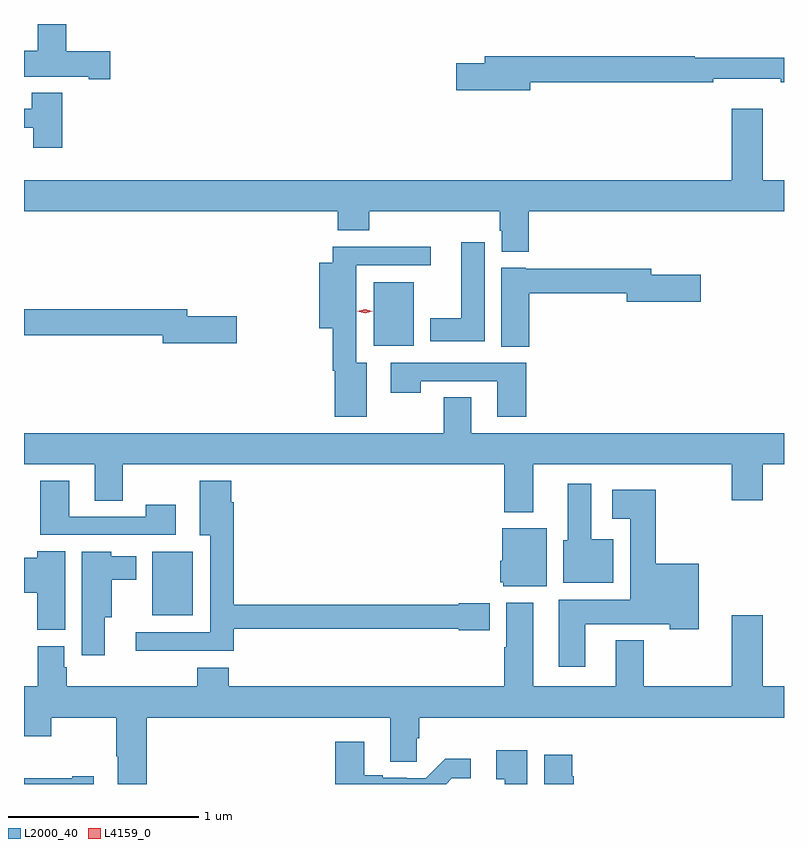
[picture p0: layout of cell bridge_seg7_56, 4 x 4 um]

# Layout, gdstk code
import gdstk
lib = gdstk.Library(unit=1e-6, precision=1e-09)
def R(c, l, rs):  # rectangles x0, y0, x1, y1
    for r in rs: c.add(gdstk.rectangle(r[:2], r[2:], *l))
def P(c, l, *ps):  # polygons
    for p in ps: c.add(gdstk.Polygon(p, *l))
L2000_40 = (2000, 40)
L4159_0 = (4159, 0)

bridge_seg7_56 = lib.new_cell('bridge_seg7_56')
R(bridge_seg7_56, L2000_40, [(953.168,1013.141,953.38,1013.476), (954.332,1014.56,954.544,1014.895)])
P(bridge_seg7_56, L2000_40, [(952.945,1016.111),(952.715,1016.111),(952.715,1016.254),(952.565,1016.254),(952.565,1016.114),(952.492,1016.114),(952.492,1015.976),(952.832,1015.976),(952.832,1015.964),(952.945,1015.964)],
  [(955.156,1015.948),(956.12,1015.948),(956.12,1015.967),(956.476,1015.967),(956.476,1015.948),(956.492,1015.948),(956.492,1016.077),(956.021,1016.077),(956.021,1016.084),(954.917,1016.084),(954.917,1016.048),(954.768,1016.048),(954.768,1015.906),(955.156,1015.906)],
  [(952.694,1015.891),(952.534,1015.891),(952.534,1015.807),(952.492,1015.807),(952.492,1015.707),(952.541,1015.707),(952.541,1015.602),(952.694,1015.602)],
  [(955.148,1015.268),(956.492,1015.268),(956.492,1015.432),(956.38,1015.432),(956.38,1015.807),(956.216,1015.807),(956.216,1015.432),(952.492,1015.432),(952.492,1015.268),(954.143,1015.268),(954.143,1015.169),(954.308,1015.169),(954.308,1015.268),(954.995,1015.268),(954.995,1015.167),(955.007,1015.167),(955.007,1015.055),(955.148,1015.055)],
  [(954.916,1015.105),(954.794,1015.105),(954.794,1014.706),(954.629,1014.706),(954.629,1014.584),(954.916,1014.584)],
  [(954.295,1014.472),(954.241,1014.472),(954.241,1014.984),(954.634,1014.984),(954.634,1015.082),(954.116,1015.082),(954.116,1014.997),(954.047,1014.997),(954.047,1014.653),(954.116,1014.653),(954.116,1014.428),(954.128,1014.428),(954.128,1014.186),(954.295,1014.186)],
  [(955.151,1014.838),(955.664,1014.838),(955.664,1014.791),(956.053,1014.791),(956.053,1014.933),(955.792,1014.933),(955.792,1014.967),(955.134,1014.967),(955.134,1014.97),(955.004,1014.97),(955.004,1014.556),(955.151,1014.556)],
  [(953.611,1014.716),(953.35,1014.716),(953.35,1014.752),(952.492,1014.752),(952.492,1014.616),(953.222,1014.616),(953.222,1014.574),(953.611,1014.574)],
  [(955.136,1014.471),(954.423,1014.471),(954.423,1014.312),(954.579,1014.312),(954.579,1014.375),(954.983,1014.375),(954.983,1014.186),(955.136,1014.186)],
  [(955.171,1013.936),(956.216,1013.936),(956.216,1013.748),(956.38,1013.748),(956.38,1013.936),(956.492,1013.936),(956.492,1014.1),(954.847,1014.1),(954.847,1014.29),(954.7,1014.29),(954.7,1014.1),(952.492,1014.1),(952.492,1013.936),(952.865,1013.936),(952.865,1013.746),(953.013,1013.746),(953.013,1013.936),(955.019,1013.936),(955.019,1013.684),(955.171,1013.684)],
  [(953.597,1013.07),(954.78,1013.07),(954.78,1013.062),(954.943,1013.062),(954.943,1013.206),(954.78,1013.206),(954.78,1013.198),(953.597,1013.198),(953.597,1013.738),(953.584,1013.738),(953.584,1013.851),(953.417,1013.851),(953.417,1013.564),(953.471,1013.564),(953.471,1013.052),(953.079,1013.052),(953.079,1012.955),(953.597,1012.955)],
  [(953.29,1013.725),(953.134,1013.725),(953.134,1013.661),(952.729,1013.661),(952.729,1013.851),(952.577,1013.851),(952.577,1013.565),(953.29,1013.565)],
  [(955.594,1013.542),(955.477,1013.542),(955.477,1013.833),(955.355,1013.833),(955.355,1013.538),(955.331,1013.538),(955.331,1013.312),(955.594,1013.312)],
  [(955.447,1013.096),(955.89,1013.096),(955.89,1013.069),(956.044,1013.069),(956.044,1013.413),(955.817,1013.413),(955.817,1013.803),(955.587,1013.803),(955.587,1013.651),(955.682,1013.651),(955.682,1013.224),(955.307,1013.224),(955.307,1012.872),(955.447,1012.872)],
  [(955.243,1013.599),(955.01,1013.599),(955.01,1013.43),(954.998,1013.43),(954.998,1013.316),(955.014,1013.316),(955.014,1013.294),(955.243,1013.294)],
  [(952.708,1013.48),(952.562,1013.48),(952.562,1013.444),(952.492,1013.444),(952.492,1013.261),(952.562,1013.261),(952.562,1013.065),(952.708,1013.065)],
  [(952.918,1013.132),(952.954,1013.132),(952.954,1013.33),(953.083,1013.33),(953.083,1013.452),(952.95,1013.452),(952.95,1013.476),(952.796,1013.476),(952.796,1012.932),(952.918,1012.932)],
  [(953.138,1012.604),(954.419,1012.604),(954.419,1012.372),(954.558,1012.372),(954.558,1012.494),(954.572,1012.494),(954.572,1012.604),(956.492,1012.604),(956.492,1012.768),(956.38,1012.768),(956.38,1013.143),(956.216,1013.143),(956.216,1012.768),(955.755,1012.768),(955.755,1013.011),(955.607,1013.011),(955.607,1012.768),(955.171,1012.768),(955.171,1013.209),(955.031,1013.209),(955.031,1012.973),(955.019,1012.973),(955.019,1012.768),(953.57,1012.768),(953.57,1012.867),(953.405,1012.867),(953.405,1012.768),(952.718,1012.768),(952.718,1012.869),(952.705,1012.869),(952.705,1012.98),(952.565,1012.98),(952.565,1012.768),(952.492,1012.768),(952.492,1012.505),(952.635,1012.505),(952.635,1012.604),(952.978,1012.604),(952.978,1012.4),(952.985,1012.4),(952.985,1012.254),(953.138,1012.254)],
  [(954.744,1012.284),(954.844,1012.284),(954.844,1012.387),(954.709,1012.387),(954.606,1012.284),(954.506,1012.284),(954.506,1012.287),(954.379,1012.287),(954.379,1012.3),(954.283,1012.3),(954.283,1012.477),(954.131,1012.477),(954.131,1012.254),(954.714,1012.254)],
  [(955.141,1012.432),(954.977,1012.432),(954.977,1012.278),(955.022,1012.278),(955.022,1012.254),(955.141,1012.254)],
  [(955.385,1012.295),(955.378,1012.295),(955.378,1012.408),(955.229,1012.408),(955.229,1012.254),(955.385,1012.254)],
  [(952.858,1012.294),(952.745,1012.294),(952.745,1012.284),(952.492,1012.284),(952.492,1012.254),(952.858,1012.254)])
P(bridge_seg7_56, L4159_0, [(954.287,1014.732),(954.247,1014.742),(954.246,1014.742),(954.247,1014.743),(954.287,1014.752),(954.326,1014.743),(954.327,1014.742),(954.326,1014.742)])

lib.write_gds('bridge_seg7_56.gds')
